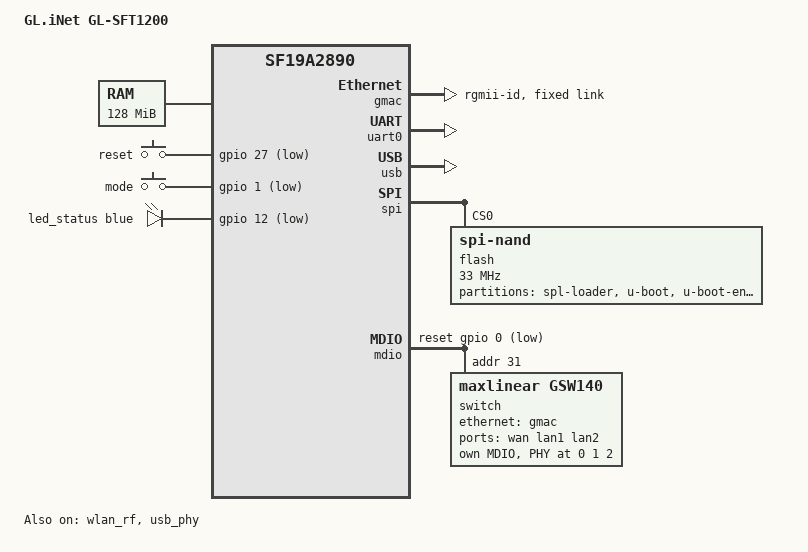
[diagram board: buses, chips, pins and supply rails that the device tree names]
/dts-v1/;
#include <dt-bindings/input/input.h>
#include <dt-bindings/leds/common.h>
#include "sf19a2890.dtsi"

/ {
	model = "GL.iNet GL-SFT1200";
	compatible = "glinet,gl-sft1200", "siflower,sf19a2890";

	aliases {
		led-boot = &led_status;
		led-failsafe = &led_status;
		led-running = &led_status;
		led-upgrade = &led_status;
	};

	chosen {
		stdout-path = "serial0:115200n8";
	};

	memory@0 {
		device_type = "memory";
		reg = <0x0 0x8000000>;
	};

	keys {
		compatible = "gpio-keys";

		reset {
			label = "reset";
			gpios = <&gpio 27 GPIO_ACTIVE_LOW>;
			linux,code = <KEY_RESTART>;
		};

		switch {
			label = "mode";
			linux,code = <BTN_0>;
			linux,input-type = <EV_SW>;
			gpios = <&gpio 1 GPIO_ACTIVE_LOW>;
		};
	};

	leds {
		compatible = "gpio-leds";

		led_status: status {
			function = LED_FUNCTION_STATUS;
			color = <LED_COLOR_ID_BLUE>;
			gpios = <&gpio 12 GPIO_ACTIVE_LOW>;
		};
	};

};

&gmac {
	status = "okay";
	phy-mode = "rgmii-id";
	nvmem-cells = <&macaddr_factory_0>, <&rgmii_delay_factory_b2>;
	nvmem-cell-names = "mac-address", "rgmii-delay";
	snps,ps-speed = <1000>;

	fixed-link {
		speed = <1000>;
		full-duplex;
		pause;
	};
};

&wlan_rf {
	status = "okay";
};

&uart0 {
	status = "okay";
};

&usb {
	status = "okay";
};

&usb_phy {
	status = "okay";
};

&spi {
	status = "okay";
	flash@0 {
		compatible = "spi-nand";
		reg = <0>;
		spi-max-frequency = <33000000>;

		partitions {
			compatible = "fixed-partitions";
			#address-cells = <1>;
			#size-cells = <1>;

			partition@0 {
				label = "spl-loader";
				reg = <0x0 0x20000>;
				read-only;
			};

			partition@20000 {
				label = "u-boot";
				reg = <0x20000 0x60000>;
			};

			partition@80000 {
				label = "u-boot-env";
				reg = <0x80000 0x20000>;
			};

			factory:partition@a0000 {
				label = "factory";
				reg = <0xa0000 0x20000>;

				nvmem-layout {
					compatible = "fixed-layout";
					#address-cells = <1>;
					#size-cells = <1>;

					macaddr_factory_0: macaddr@0 {
						reg = <0x0 0x6>;
					};

					rgmii_delay_factory_b2: rgmii-delay@b2 {
						reg = <0xb2 0x4>;
					};
				};
			};

			partition@c0000 {
				label = "kernel";
				reg = <0xc0000 0x400000>;
			};

			partition@3c0000 {
				label = "ubi";
				reg = <0x4c0000 0x7940000>;
				compatible = "linux,ubi";
			};

			partition@7c00000 {
				label = "log";
				reg = <0x7e00000 0x40000>;
			};
		};
	};
};

&mdio {
	reset-gpios = <&gpio 0 GPIO_ACTIVE_LOW>;
	reset-delay-us = <10000>;
	reset-post-delay-us = <100000>;
	clock-frequency = <12500000>;

	switch: switch@1f {
		reg = <0x1f>;
		dsa,member = <0 0>;
		compatible = "maxlinear,gsw140";

		ports {
			#address-cells = <1>;
			#size-cells = <0>;

			port@0 {
				reg = <0>;
				label = "wan";
				phy-handle = <&switchphy0>;
				phy-mode = "internal";
				status = "okay";
			};

			port@1 {
				reg = <1>;
				label = "lan1";
				phy-handle = <&switchphy1>;
				phy-mode = "internal";
				status = "okay";
			};

			port@2 {
				reg = <2>;
				label = "lan2";
				phy-handle = <&switchphy2>;
				phy-mode = "internal";
				status = "okay";
			};

			port@5 {
				reg = <5>;
				phy-mode = "rgmii-id";
				status = "okay";

				ethernet = <&gmac>;
				fixed-link {
					speed = <1000>;
					full-duplex;
				};
			};
		};

		mdio {
			#address-cells = <1>;
			#size-cells = <0>;

			switchphy0: switchphy@0 {
				reg = <0>;
			};

			switchphy1: switchphy@1 {
				reg = <1>;
			};

			switchphy2: switchphy@2 {
				reg = <2>;
			};

		};
	};
};
